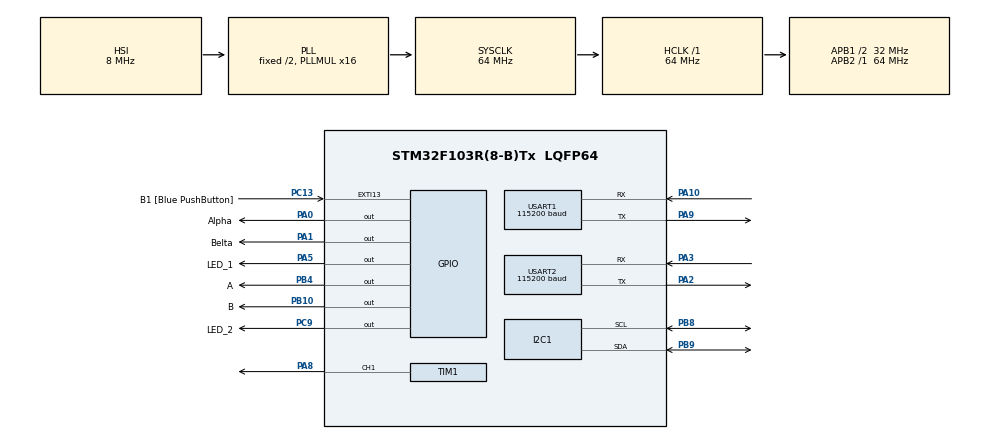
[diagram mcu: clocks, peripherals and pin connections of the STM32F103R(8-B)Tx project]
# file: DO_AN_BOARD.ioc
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Mcu.Family=STM32F1
Mcu.Name=STM32F103R(8-B)Tx
Mcu.Package=LQFP64
NVIC.EXTI15_10_IRQn=true\:0\:0\:false\:false\:true\:true\:true
NVIC.PriorityGroup=NVIC_PRIORITYGROUP_4
NVIC.TIM2_IRQn=true\:0\:0\:false\:false\:true\:true\:true
NVIC.USART1_IRQn=true\:0\:0\:false\:false\:true\:true\:true
NVIC.USART2_IRQn=true\:0\:0\:false\:false\:true\:true\:true
PA0-WKUP.GPIO_Label=Alpha
PA0-WKUP.Signal=GPIO_Output
PA1.GPIO_Label=Belta
PA1.Signal=GPIO_Output
PA10.Mode=Asynchronous
PA10.Signal=USART1_RX
PA13.GPIO_Label=TMS
PA13.Mode=Serial_Wire
PA13.Signal=SYS_JTMS-SWDIO
PA14.GPIO_Label=TCK
PA14.Mode=Serial_Wire
PA14.Signal=SYS_JTCK-SWCLK
PA2.Mode=Asynchronous
PA2.Signal=USART2_TX
PA3.Mode=Asynchronous
PA3.Signal=USART2_RX
PA5.GPIO_Label=LED_1
PA5.Signal=GPIO_Output
PA8.Signal=S_TIM1_CH1
PA9.Mode=Asynchronous
PA9.Signal=USART1_TX
PB10.GPIO_Label=B
PB10.Signal=GPIO_Output
PB3.GPIO_Label=SWO
PB3.Signal=SYS_JTDO-TRACESWO
PB4.GPIO_Label=A
PB4.Signal=GPIO_Output
PB8.Mode=I2C
PB8.Signal=I2C1_SCL
PB9.Mode=I2C
PB9.Signal=I2C1_SDA
PC13-TAMPER-RTC.GPIO_Label=B1 [Blue PushButton]
PC13-TAMPER-RTC.GPIO_PuPd=GPIO_NOPULL
PC13-TAMPER-RTC.Signal=GPXTI13
PC14-OSC32_IN.Mode=LSE-External-Oscillator
PC14-OSC32_IN.Signal=RCC_OSC32_IN
PC15-OSC32_OUT.Mode=LSE-External-Oscillator
PC15-OSC32_OUT.Signal=RCC_OSC32_OUT
PC9.GPIO_Label=LED_2
PC9.Signal=GPIO_Output
PD0-OSC_IN.Mode=HSE-External-Clock-Source
PD0-OSC_IN.Signal=RCC_OSC_IN
PD1-OSC_OUT.Mode=HSE-External-Clock-Source
PD1-OSC_OUT.Signal=RCC_OSC_OUT
ProjectManager.HeapSize=0x200
ProjectManager.StackSize=0x400
ProjectManager.TargetToolchain=STM32CubeIDE
RCC.AHBFreq_Value=64000000
RCC.APB1CLKDivider=RCC_HCLK_DIV2
RCC.APB1Freq_Value=32000000
RCC.APB1TimFreq_Value=64000000
RCC.APB2Freq_Value=64000000
RCC.APB2TimFreq_Value=64000000
RCC.HCLKFreq_Value=64000000
RCC.PLLMUL=RCC_PLL_MUL16
RCC.RTCClockSelection=RCC_RTCCLKSOURCE_LSE
RCC.SYSCLKFreq_VALUE=64000000
RCC.SYSCLKSource=RCC_SYSCLKSOURCE_PLLCLK
RCC.USBFreq_Value=64000000
SH.S_TIM1_CH1.0=TIM1_CH1,PWM Generation1 CH1
TIM1.Channel-PWM\ Generation1\ CH1=TIM_CHANNEL_1
TIM1.Period=999
TIM1.Prescaler=639
TIM1.Pulse-PWM\ Generation1\ CH1=199
TIM2.Period=99
TIM2.Prescaler=6399
USART1.BaudRate=115200
USART1.VirtualMode=VM_ASYNC
USART2.BaudRate=115200
USART2.VirtualMode=VM_ASYNC
VP_TIM1_VS_ClockSourceINT.Mode=Internal
VP_TIM2_VS_ClockSourceINT.Mode=Internal
board=NUCLEO-F103RB

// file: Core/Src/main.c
/* USER CODE BEGIN Header */
/**
  ******************************************************************************
  * @file           : main.c
  * @brief          : Main program body
  ******************************************************************************
  * @attention
  *
  * <h2><center>&copy; Copyright (c) 2024 STMicroelectronics.
  * All rights reserved.</center></h2>
  *
  * This software component is licensed by ST under BSD 3-Clause license,
  * the "License"; You may not use this file except in compliance with the
  * License. You may obtain a copy of the License at:
  *                        opensource.org/licenses/BSD-3-Clause
  *
  ******************************************************************************
  */
/* USER CODE END Header */
#include "main.h"

/* USER CODE BEGIN Includes */
#include "dht20.h"
#include "I2C-LCD.h"
#include "scheduler.h"
#include "sofware_timer.h"
#include "fsm_system.h"
/* USER CODE END Includes */

I2C_HandleTypeDef hi2c1;

TIM_HandleTypeDef htim1;
TIM_HandleTypeDef htim2;

UART_HandleTypeDef huart1;
UART_HandleTypeDef huart2;

void SystemClock_Config(void);
static void MX_GPIO_Init(void);
static void MX_I2C1_Init(void);
static void MX_TIM2_Init(void);
static void MX_USART2_UART_Init(void);
static void MX_USART1_UART_Init(void);
static void MX_TIM1_Init(void);
/* USER CODE BEGIN PFP */

void uart_task(void) {
		  HAL_UART_Transmit(&huart2, temp, sizeof(temp), 1000);
		  HAL_UART_Transmit(&huart1, humid, sizeof(humid), 1000);
}
/* USER CODE END PFP */

int main(void)
{

  /* MCU Configuration--------------------------------------------------------*/

  /* Reset of all peripherals, Initializes the Flash interface and the Systick. */
  HAL_Init();

  /* Configure the system clock */
  SystemClock_Config();

  /* Initialize all configured peripherals */
  MX_GPIO_Init();
  MX_I2C1_Init();
  MX_TIM2_Init();
  MX_USART2_UART_Init();
  MX_USART1_UART_Init();
  MX_TIM1_Init();
  /* USER CODE BEGIN 2 */
  lcd_init();
  dht20_init();
  HAL_TIM_Base_Start_IT(&htim2);
  setTimer(100);
  status=INIT;
  SCH_AddTask(fsm_system, 0, TIME_TICK);
  SCH_AddTask(init_variables, 0, TIME_TICK);
  SCH_AddTask(uart_task, 0, 500);
  /* USER CODE END 2 */
  HAL_TIM_PWM_Start(&htim1, TIM_CHANNEL_1);
  /* Infinite loop */
  /* USER CODE BEGIN WHILE */
  while (1)
  {
	  SCH_Dispatch();

    /* USER CODE END WHILE */

  }
}

void SystemClock_Config(void)
{
  RCC_OscInitTypeDef RCC_OscInitStruct = {0};
  RCC_ClkInitTypeDef RCC_ClkInitStruct = {0};

  /** Initializes the RCC Oscillators according to the specified parameters
  * in the RCC_OscInitTypeDef structure.
  */
  RCC_OscInitStruct.OscillatorType = RCC_OSCILLATORTYPE_HSI;
  RCC_OscInitStruct.HSIState = RCC_HSI_ON;
  RCC_OscInitStruct.HSICalibrationValue = RCC_HSICALIBRATION_DEFAULT;
  RCC_OscInitStruct.PLL.PLLState = RCC_PLL_ON;
  RCC_OscInitStruct.PLL.PLLSource = RCC_PLLSOURCE_HSI_DIV2;
  RCC_OscInitStruct.PLL.PLLMUL = RCC_PLL_MUL16;
  if (HAL_RCC_OscConfig(&RCC_OscInitStruct) != HAL_OK)
  {
    Error_Handler();
  }
  /** Initializes the CPU, AHB and APB buses clocks
  */
  RCC_ClkInitStruct.ClockType = RCC_CLOCKTYPE_HCLK|RCC_CLOCKTYPE_SYSCLK
                              |RCC_CLOCKTYPE_PCLK1|RCC_CLOCKTYPE_PCLK2;
  RCC_ClkInitStruct.SYSCLKSource = RCC_SYSCLKSOURCE_PLLCLK;
  RCC_ClkInitStruct.AHBCLKDivider = RCC_SYSCLK_DIV1;
  RCC_ClkInitStruct.APB1CLKDivider = RCC_HCLK_DIV2;
  RCC_ClkInitStruct.APB2CLKDivider = RCC_HCLK_DIV1;

  if (HAL_RCC_ClockConfig(&RCC_ClkInitStruct, FLASH_LATENCY_2) != HAL_OK)
  {
    Error_Handler();
  }
}

static void MX_I2C1_Init(void)
{

  hi2c1.Instance = I2C1;
  hi2c1.Init.ClockSpeed = 100000;
  hi2c1.Init.DutyCycle = I2C_DUTYCYCLE_2;
  hi2c1.Init.OwnAddress1 = 0;
  hi2c1.Init.AddressingMode = I2C_ADDRESSINGMODE_7BIT;
  hi2c1.Init.DualAddressMode = I2C_DUALADDRESS_DISABLE;
  hi2c1.Init.OwnAddress2 = 0;
  hi2c1.Init.GeneralCallMode = I2C_GENERALCALL_DISABLE;
  hi2c1.Init.NoStretchMode = I2C_NOSTRETCH_DISABLE;
  if (HAL_I2C_Init(&hi2c1) != HAL_OK)
  {
    Error_Handler();
  }

}

static void MX_TIM1_Init(void)
{

  TIM_ClockConfigTypeDef sClockSourceConfig = {0};
  TIM_MasterConfigTypeDef sMasterConfig = {0};
  TIM_OC_InitTypeDef sConfigOC = {0};
  TIM_BreakDeadTimeConfigTypeDef sBreakDeadTimeConfig = {0};

  htim1.Instance = TIM1;
  htim1.Init.Prescaler = 639;
  htim1.Init.CounterMode = TIM_COUNTERMODE_UP;
  htim1.Init.Period = 999;
  htim1.Init.ClockDivision = TIM_CLOCKDIVISION_DIV1;
  htim1.Init.RepetitionCounter = 0;
  htim1.Init.AutoReloadPreload = TIM_AUTORELOAD_PRELOAD_DISABLE;
  if (HAL_TIM_Base_Init(&htim1) != HAL_OK)
  {
    Error_Handler();
  }
  sClockSourceConfig.ClockSource = TIM_CLOCKSOURCE_INTERNAL;
  if (HAL_TIM_ConfigClockSource(&htim1, &sClockSourceConfig) != HAL_OK)
  {
    Error_Handler();
  }
  if (HAL_TIM_PWM_Init(&htim1) != HAL_OK)
  {
    Error_Handler();
  }
  sMasterConfig.MasterOutputTrigger = TIM_TRGO_RESET;
  sMasterConfig.MasterSlaveMode = TIM_MASTERSLAVEMODE_DISABLE;
  if (HAL_TIMEx_MasterConfigSynchronization(&htim1, &sMasterConfig) != HAL_OK)
  {
    Error_Handler();
  }
  sConfigOC.OCMode = TIM_OCMODE_PWM1;
  sConfigOC.Pulse = 199;
  sConfigOC.OCPolarity = TIM_OCPOLARITY_HIGH;
  sConfigOC.OCNPolarity = TIM_OCNPOLARITY_HIGH;
  sConfigOC.OCFastMode = TIM_OCFAST_DISABLE;
  sConfigOC.OCIdleState = TIM_OCIDLESTATE_RESET;
  sConfigOC.OCNIdleState = TIM_OCNIDLESTATE_RESET;
  if (HAL_TIM_PWM_ConfigChannel(&htim1, &sConfigOC, TIM_CHANNEL_1) != HAL_OK)
  {
    Error_Handler();
  }
  sBreakDeadTimeConfig.OffStateRunMode = TIM_OSSR_DISABLE;
  sBreakDeadTimeConfig.OffStateIDLEMode = TIM_OSSI_DISABLE;
  sBreakDeadTimeConfig.LockLevel = TIM_LOCKLEVEL_OFF;
  sBreakDeadTimeConfig.DeadTime = 0;
  sBreakDeadTimeConfig.BreakState = TIM_BREAK_DISABLE;
  sBreakDeadTimeConfig.BreakPolarity = TIM_BREAKPOLARITY_HIGH;
  sBreakDeadTimeConfig.AutomaticOutput = TIM_AUTOMATICOUTPUT_DISABLE;
  if (HAL_TIMEx_ConfigBreakDeadTime(&htim1, &sBreakDeadTimeConfig) != HAL_OK)
  {
    Error_Handler();
  }
  HAL_TIM_MspPostInit(&htim1);

}

static void MX_TIM2_Init(void)
{

  TIM_ClockConfigTypeDef sClockSourceConfig = {0};
  TIM_MasterConfigTypeDef sMasterConfig = {0};

  htim2.Instance = TIM2;
  htim2.Init.Prescaler = 6399;
  htim2.Init.CounterMode = TIM_COUNTERMODE_UP;
  htim2.Init.Period = 99;
  htim2.Init.ClockDivision = TIM_CLOCKDIVISION_DIV1;
  htim2.Init.AutoReloadPreload = TIM_AUTORELOAD_PRELOAD_DISABLE;
  if (HAL_TIM_Base_Init(&htim2) != HAL_OK)
  {
    Error_Handler();
  }
  sClockSourceConfig.ClockSource = TIM_CLOCKSOURCE_INTERNAL;
  if (HAL_TIM_ConfigClockSource(&htim2, &sClockSourceConfig) != HAL_OK)
  {
    Error_Handler();
  }
  sMasterConfig.MasterOutputTrigger = TIM_TRGO_RESET;
  sMasterConfig.MasterSlaveMode = TIM_MASTERSLAVEMODE_DISABLE;
  if (HAL_TIMEx_MasterConfigSynchronization(&htim2, &sMasterConfig) != HAL_OK)
  {
    Error_Handler();
  }

}

static void MX_USART1_UART_Init(void)
{

  huart1.Instance = USART1;
  huart1.Init.BaudRate = 115200;
  huart1.Init.WordLength = UART_WORDLENGTH_8B;
  huart1.Init.StopBits = UART_STOPBITS_1;
  huart1.Init.Parity = UART_PARITY_NONE;
  huart1.Init.Mode = UART_MODE_TX_RX;
  huart1.Init.HwFlowCtl = UART_HWCONTROL_NONE;
  huart1.Init.OverSampling = UART_OVERSAMPLING_16;
  if (HAL_UART_Init(&huart1) != HAL_OK)
  {
    Error_Handler();
  }

}

static void MX_USART2_UART_Init(void)
{

  huart2.Instance = USART2;
  huart2.Init.BaudRate = 115200;
  huart2.Init.WordLength = UART_WORDLENGTH_8B;
  huart2.Init.StopBits = UART_STOPBITS_1;
  huart2.Init.Parity = UART_PARITY_NONE;
  huart2.Init.Mode = UART_MODE_TX_RX;
  huart2.Init.HwFlowCtl = UART_HWCONTROL_NONE;
  huart2.Init.OverSampling = UART_OVERSAMPLING_16;
  if (HAL_UART_Init(&huart2) != HAL_OK)
  {
    Error_Handler();
  }

}

static void MX_GPIO_Init(void)
{
  GPIO_InitTypeDef GPIO_InitStruct = {0};

  /* GPIO Ports Clock Enable */
  __HAL_RCC_GPIOC_CLK_ENABLE();
  __HAL_RCC_GPIOD_CLK_ENABLE();
  __HAL_RCC_GPIOA_CLK_ENABLE();
  __HAL_RCC_GPIOB_CLK_ENABLE();

  /*Configure GPIO pin Output Level */
  HAL_GPIO_WritePin(GPIOA, Alpha_Pin|Belta_Pin|LED_1_Pin, GPIO_PIN_RESET);

  /*Configure GPIO pin Output Level */
  HAL_GPIO_WritePin(GPIOB, B_Pin|A_Pin, GPIO_PIN_RESET);

  /*Configure GPIO pin Output Level */
  HAL_GPIO_WritePin(LED_2_GPIO_Port, LED_2_Pin, GPIO_PIN_RESET);

  /*Configure GPIO pin : B1_Pin */
  GPIO_InitStruct.Pin = B1_Pin;
  GPIO_InitStruct.Mode = GPIO_MODE_IT_RISING;
  GPIO_InitStruct.Pull = GPIO_NOPULL;
  HAL_GPIO_Init(B1_GPIO_Port, &GPIO_InitStruct);

  /*Configure GPIO pins : Alpha_Pin Belta_Pin LED_1_Pin */
  GPIO_InitStruct.Pin = Alpha_Pin|Belta_Pin|LED_1_Pin;
  GPIO_InitStruct.Mode = GPIO_MODE_OUTPUT_PP;
  GPIO_InitStruct.Pull = GPIO_NOPULL;
  GPIO_InitStruct.Speed = GPIO_SPEED_FREQ_LOW;
  HAL_GPIO_Init(GPIOA, &GPIO_InitStruct);

  /*Configure GPIO pins : B_Pin A_Pin */
  GPIO_InitStruct.Pin = B_Pin|A_Pin;
  GPIO_InitStruct.Mode = GPIO_MODE_OUTPUT_PP;
  GPIO_InitStruct.Pull = GPIO_NOPULL;
  GPIO_InitStruct.Speed = GPIO_SPEED_FREQ_LOW;
  HAL_GPIO_Init(GPIOB, &GPIO_InitStruct);

  /*Configure GPIO pin : LED_2_Pin */
  GPIO_InitStruct.Pin = LED_2_Pin;
  GPIO_InitStruct.Mode = GPIO_MODE_OUTPUT_PP;
  GPIO_InitStruct.Pull = GPIO_NOPULL;
  GPIO_InitStruct.Speed = GPIO_SPEED_FREQ_LOW;
  HAL_GPIO_Init(LED_2_GPIO_Port, &GPIO_InitStruct);

  /* EXTI interrupt init*/
  HAL_NVIC_SetPriority(EXTI15_10_IRQn, 0, 0);
  HAL_NVIC_EnableIRQ(EXTI15_10_IRQn);

}

/* USER CODE BEGIN 4 */
void HAL_TIM_PeriodElapsedCallback(TIM_HandleTypeDef *htim)
{
	if (htim->Instance == TIM2) {
		SCH_Update();
	}
	timeRun();
}
/* USER CODE END 4 */

void Error_Handler(void)
{
  __disable_irq();
  while (1)
  {
  }
}

/************************ (C) COPYRIGHT STMicroelectronics *****END OF FILE****/
